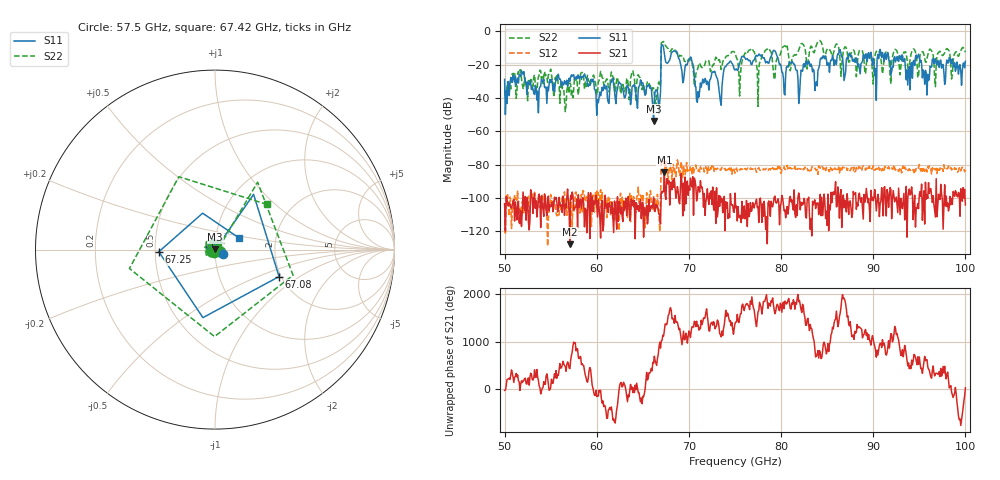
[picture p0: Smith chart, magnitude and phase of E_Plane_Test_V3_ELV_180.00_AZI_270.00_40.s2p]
! 11/26/2026 4:26:18 PM
! C:\ANRITSUVNA\TEMP\TEMP.S2P
! CHANNEL.1
! TR.MEASUREMENT
! RAW.DATA
# HZ S RI R 50.0
! FREQ.HZ  S11RE  S11IM  S21RE  S21IM  S12RE  S12IM  S22RE  S22IM
!; PortSelection: Port_12
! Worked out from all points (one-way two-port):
!   601 points, 50 GHz to 100 GHz, reference 50 ohm
!   highest |S21| = -84.69 dB at 67.33 GHz (marker M1); lowest = -127.7 dB at 57.08 GHz (marker M2)
!   lowest |S11| = -53.9 dB at 66.17 GHz (marker M3), VSWR 1.00, Z = 50.1 + j0.147 ohm
!   |S11| at or under -10 dB: start of sweep to 67 GHz; 67.25 GHz to end of sweep
!   |S22| runs from -48.2 to -5.6 dB; largest |S21 - S12| = 0.00018
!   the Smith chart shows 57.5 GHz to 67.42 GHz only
!   S11 on the Smith chart (normalised r, x): 57.5 GHz: 1.09, -0.05; 67.08 GHz: 1.95, -0.69; 67.25 GHz: 0.52, -0.01; 67.42 GHz: 1.29, +0.17
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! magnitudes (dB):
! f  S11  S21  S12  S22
! 50 GHz  -28.9  -103.5  -103.0  -35.6
! 57.08 GHz  -30.0  -127.7  -111.6  -31.0
! 57.5 GHz  -26.1  -107.1  -107.3  -34.6
! 58.42 GHz  -27.1  -102.1  -108.9  -24.8
! 60.17 GHz  -42.9  -101.1  -96.8  -30.4
! 66.17 GHz  -53.9  -100.0  -99.2  -34.0
! 66.67 GHz  -41.5  -107.7  -104.1  -31.6
! 67.08 GHz  -8.2  -97.0  -78.3  -6.8
! 67.25 GHz  -10.1  -96.2  -79.4  -6.2
! 67.33 GHz  -13.4  -84.7  -77.8  -6.9
! 67.42 GHz  -16.6  -98.4  -82.4  -8.3
! 70.25 GHz  -15.9  -92.1  -82.4  -18.8
! 70.92 GHz  -42.7  -99.0  -82.8  -23.2
! 75 GHz  -23.3  -97.1  -85.1  -13.0
! 79.25 GHz  -11.5  -99.7  -83.0  -28.8
! 80.25 GHz  -27.8  -103.9  -82.6  -9.3
! 83.42 GHz  -24.3  -102.0  -81.1  -10.8
! 91.67 GHz  -16.6  -105.6  -81.3  -15.2
! 93.75 GHz  -32.3  -100.0  -84.1  -21.3
! 94.83 GHz  -15.1  -103.3  -82.2  -27.9
! 95.83 GHz  -38.3  -98.0  -84.4  -16.5
! 100 GHz  -18.0  -104.2  -83.3  -12.6
